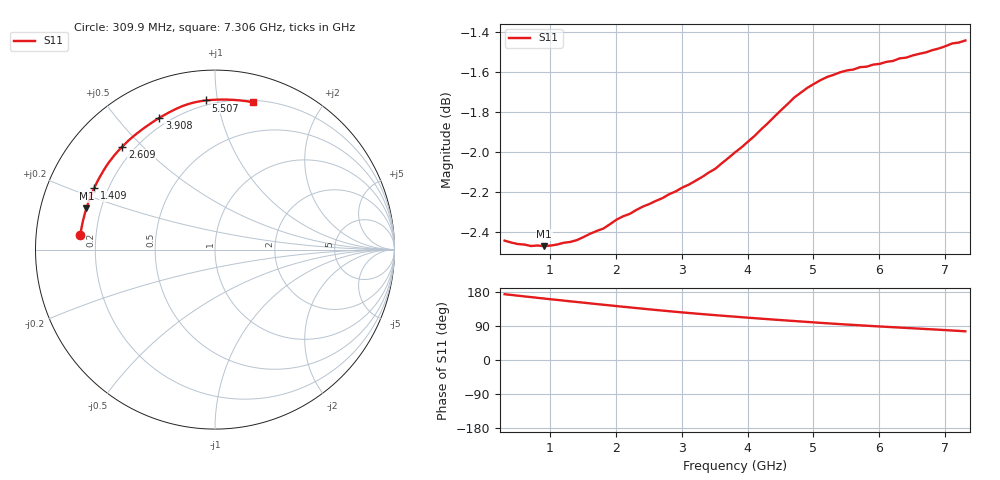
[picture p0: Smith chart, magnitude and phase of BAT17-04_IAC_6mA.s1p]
! Infineon Technologies  Discrete & RF Semiconductors
! BAT17-04
! IAC = 6 mA
! One-Port S-Parameters
# Hz  S  MA  R  50
!f  S11
!Hz  Mag  Ang
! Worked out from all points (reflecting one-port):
!   71 points, 309.9 MHz to 7.306 GHz, reference 50 ohm
!   lowest |S11| = -2.5 dB at 909.5 MHz (marker M1), VSWR 7.07, Z = 7.24 + j7.67 ohm
!   phase of S11 starts at 174 deg and turns -98 deg over the sweep
!   S11 on the Smith chart (normalised r, x): 309.9 MHz: 0.14, +0.05; 1.409 GHz: 0.15, +0.24; 2.609 GHz: 0.15, +0.44; 3.908 GHz: 0.16, +0.65; 5.507 GHz: 0.17, +0.92; 7.306 GHz: 0.22, +1.26
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3.0985e8  0.7547 173.6
6.097e8  0.753 167.8
9.0955e8  0.7523 162.2
1.0095e9  0.7525 160.3
1.2094e9  0.7538 156.7
1.4093e9  0.755 153.0
1.50925e9  0.7563 151.3
1.70915e9  0.7589 147.6
1.90905e9  0.7619 144.1
2.10895e9  0.7654 140.5
2.30885e9  0.7681 137.1
2.6087e9  0.7722 132.0
3.0085e9  0.7782 125.6
3.2084e9  0.7812 122.6
3.4083e9  0.7849 119.8
3.8081e9  0.7941 114.3
3.90805e9  0.7965 112.9
4.30785e9  0.8076 107.8
4.70765e9  0.8197 102.9
4.90755e9  0.8243 100.5
5.10745e9  0.828 98.0
5.50725e9  0.8326 93.6
5.6072e9  0.833 92.5
6.10695e9  0.8367 87.5
6.50675e9  0.8398 83.7
6.8066e9  0.8424 80.8
7.10645e9  0.8457 77.8
7.30635e9  0.8471 75.7
